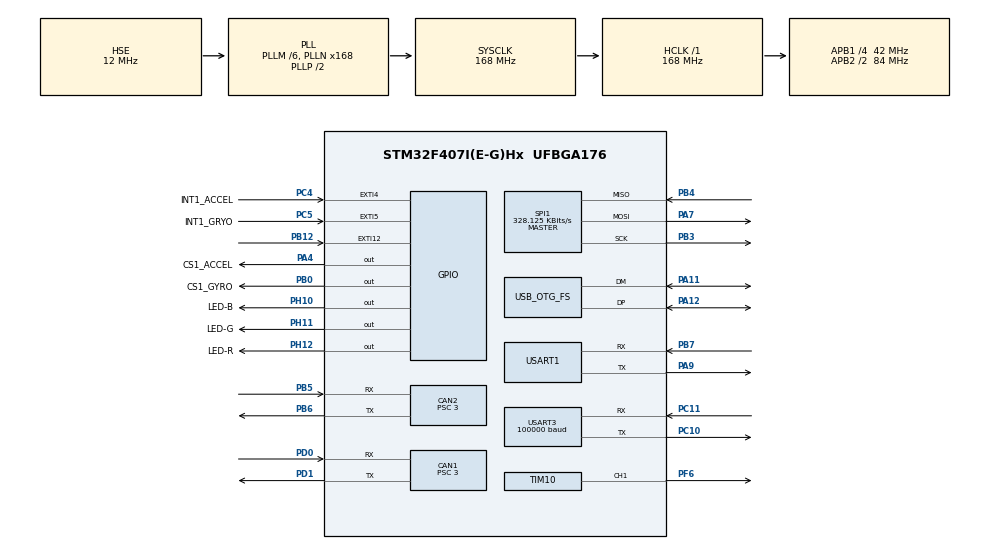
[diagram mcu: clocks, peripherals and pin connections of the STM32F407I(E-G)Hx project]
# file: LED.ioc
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CAN1.BS1=CAN_BS1_10TQ
CAN1.BS2=CAN_BS2_3TQ
CAN1.CalculateBaudRate=1000000
CAN1.CalculateTimeBit=1000
CAN1.CalculateTimeQuantum=71.42857142857143
CAN1.Prescaler=3
CAN2.BS1=CAN_BS1_10TQ
CAN2.BS2=CAN_BS2_3TQ
CAN2.CalculateBaudRate=1000000
CAN2.CalculateTimeBit=1000
CAN2.CalculateTimeQuantum=71.42857142857143
CAN2.NART=ENABLE
CAN2.Prescaler=3
Dma.Request0=USART3_RX
Dma.Request1=USART1_TX
Dma.Request2=SPI1_RX
Dma.Request3=SPI1_TX
Dma.SPI1_RX.2.Direction=DMA_PERIPH_TO_MEMORY
Dma.SPI1_RX.2.FIFOMode=DMA_FIFOMODE_DISABLE
Dma.SPI1_RX.2.Instance=DMA2_Stream2
Dma.SPI1_RX.2.MemDataAlignment=DMA_MDATAALIGN_BYTE
Dma.SPI1_RX.2.MemInc=DMA_MINC_ENABLE
Dma.SPI1_RX.2.Mode=DMA_NORMAL
Dma.SPI1_RX.2.PeriphDataAlignment=DMA_PDATAALIGN_BYTE
Dma.SPI1_RX.2.PeriphInc=DMA_PINC_DISABLE
Dma.SPI1_RX.2.Priority=DMA_PRIORITY_VERY_HIGH
Dma.SPI1_TX.3.Direction=DMA_MEMORY_TO_PERIPH
Dma.SPI1_TX.3.FIFOMode=DMA_FIFOMODE_DISABLE
Dma.SPI1_TX.3.Instance=DMA2_Stream3
Dma.SPI1_TX.3.MemDataAlignment=DMA_MDATAALIGN_BYTE
Dma.SPI1_TX.3.MemInc=DMA_MINC_ENABLE
Dma.SPI1_TX.3.Mode=DMA_NORMAL
Dma.SPI1_TX.3.PeriphDataAlignment=DMA_PDATAALIGN_BYTE
Dma.SPI1_TX.3.PeriphInc=DMA_PINC_DISABLE
Dma.SPI1_TX.3.Priority=DMA_PRIORITY_HIGH
Dma.USART1_TX.1.Direction=DMA_MEMORY_TO_PERIPH
Dma.USART1_TX.1.FIFOMode=DMA_FIFOMODE_DISABLE
Dma.USART1_TX.1.Instance=DMA2_Stream7
Dma.USART1_TX.1.MemDataAlignment=DMA_MDATAALIGN_BYTE
Dma.USART1_TX.1.MemInc=DMA_MINC_ENABLE
Dma.USART1_TX.1.Mode=DMA_NORMAL
Dma.USART1_TX.1.PeriphDataAlignment=DMA_PDATAALIGN_BYTE
Dma.USART1_TX.1.PeriphInc=DMA_PINC_DISABLE
Dma.USART1_TX.1.Priority=DMA_PRIORITY_LOW
Dma.USART3_RX.0.Direction=DMA_PERIPH_TO_MEMORY
Dma.USART3_RX.0.FIFOMode=DMA_FIFOMODE_DISABLE
Dma.USART3_RX.0.Instance=DMA1_Stream1
Dma.USART3_RX.0.MemDataAlignment=DMA_MDATAALIGN_BYTE
Dma.USART3_RX.0.MemInc=DMA_MINC_ENABLE
Dma.USART3_RX.0.Mode=DMA_CIRCULAR
Dma.USART3_RX.0.PeriphDataAlignment=DMA_PDATAALIGN_BYTE
Dma.USART3_RX.0.PeriphInc=DMA_PINC_DISABLE
Dma.USART3_RX.0.Priority=DMA_PRIORITY_HIGH
Mcu.Family=STM32F4
Mcu.Name=STM32F407I(E-G)Hx
Mcu.Package=UFBGA176
NVIC.CAN1_RX0_IRQn=true\:1\:0\:false\:false\:true\:true\:true\:true
NVIC.CAN2_RX0_IRQn=true\:1\:0\:false\:false\:true\:true\:true\:true
NVIC.DMA1_Stream1_IRQn=true\:2\:0\:false\:false\:true\:false\:true\:true
NVIC.DMA2_Stream2_IRQn=true\:3\:0\:false\:false\:true\:false\:true\:true
NVIC.DMA2_Stream3_IRQn=true\:3\:0\:false\:false\:true\:false\:true\:true
NVIC.DMA2_Stream7_IRQn=true\:3\:0\:false\:false\:true\:false\:true\:true
NVIC.EXTI15_10_IRQn=true\:3\:0\:false\:false\:true\:true\:true\:true
NVIC.OTG_FS_IRQn=true\:0\:0\:false\:false\:true\:false\:true\:true
NVIC.PriorityGroup=NVIC_PRIORITYGROUP_4
NVIC.USART1_IRQn=true\:2\:0\:false\:false\:true\:true\:true\:true
NVIC.USART3_IRQn=true\:1\:0\:false\:false\:true\:true\:true\:true
PA11.Mode=Device_Only
PA11.Signal=USB_OTG_FS_DM
PA12.Mode=Device_Only
PA12.Signal=USB_OTG_FS_DP
PA13.Mode=Serial_Wire
PA13.Signal=SYS_JTMS-SWDIO
PA14.Mode=Serial_Wire
PA14.Signal=SYS_JTCK-SWCLK
PA4.GPIO_Label=CS1_ACCEL
PA4.GPIO_PuPd=GPIO_PULLUP
PA4.GPIO_Speed=GPIO_SPEED_FREQ_HIGH
PA4.PinState=GPIO_PIN_SET
PA4.Signal=GPIO_Output
PA7.Mode=Full_Duplex_Master
PA7.Signal=SPI1_MOSI
PA9.Mode=Asynchronous
PA9.Signal=USART1_TX
PB0.GPIO_Label=CS1_GYRO
PB0.GPIO_PuPd=GPIO_PULLUP
PB0.GPIO_Speed=GPIO_SPEED_FREQ_HIGH
PB0.PinState=GPIO_PIN_SET
PB0.Signal=GPIO_Output
PB12.GPIO_ModeDefaultEXTI=GPIO_MODE_IT_RISING_FALLING
PB12.Signal=GPXTI12
PB3.Mode=Full_Duplex_Master
PB3.Signal=SPI1_SCK
PB4.Mode=Full_Duplex_Master
PB4.Signal=SPI1_MISO
PB5.Mode=CAN_Activate
PB5.Signal=CAN2_RX
PB6.Mode=CAN_Activate
PB6.Signal=CAN2_TX
PB7.Mode=Asynchronous
PB7.Signal=USART1_RX
PC10.Mode=Asynchronous
PC10.Signal=USART3_TX
PC11.Mode=Asynchronous
PC11.Signal=USART3_RX
PC14-OSC32_IN.Mode=LSE-External-Oscillator
PC14-OSC32_IN.Signal=RCC_OSC32_IN
PC15-OSC32_OUT.Mode=LSE-External-Oscillator
PC15-OSC32_OUT.Signal=RCC_OSC32_OUT
PC4.GPIO_Label=INT1_ACCEL
PC4.GPIO_PuPd=GPIO_PULLUP
PC4.Signal=GPXTI4
PC5.GPIO_Label=INT1_GRYO
PC5.GPIO_PuPd=GPIO_PULLUP
PC5.Signal=GPXTI5
PD0.Mode=CAN_Activate
PD0.Signal=CAN1_RX
PD1.Mode=CAN_Activate
PD1.Signal=CAN1_TX
PF6.GPIO_Speed=GPIO_SPEED_FREQ_HIGH
PF6.Signal=S_TIM10_CH1
PH0-OSC_IN.Mode=HSE-External-Oscillator
PH0-OSC_IN.Signal=RCC_OSC_IN
PH1-OSC_OUT.Mode=HSE-External-Oscillator
PH1-OSC_OUT.Signal=RCC_OSC_OUT
PH10.GPIO_Label=LED-B
PH10.PinState=GPIO_PIN_RESET
PH10.Signal=GPIO_Output
PH11.GPIO_Label=LED-G
PH11.PinState=GPIO_PIN_RESET
PH11.Signal=GPIO_Output
PH12.GPIO_Label=LED-R
PH12.PinState=GPIO_PIN_RESET
PH12.Signal=GPIO_Output
ProjectManager.HeapSize=0x200
ProjectManager.StackSize=0x400
ProjectManager.TargetToolchain=STM32CubeIDE
RCC.48MHZClocksFreq_Value=48000000
RCC.AHBFreq_Value=168000000
RCC.APB1CLKDivider=RCC_HCLK_DIV4
RCC.APB1Freq_Value=42000000
RCC.APB1TimFreq_Value=84000000
RCC.APB2CLKDivider=RCC_HCLK_DIV2
RCC.APB2Freq_Value=84000000
RCC.APB2TimFreq_Value=168000000
RCC.CortexFreq_Value=168000000
RCC.HCLKFreq_Value=168000000
RCC.HSE_VALUE=12000000
RCC.HSI_VALUE=16000000
RCC.PLLM=6
RCC.PLLN=168
RCC.PLLQ=7
RCC.SYSCLKFreq_VALUE=168000000
RCC.SYSCLKSource=RCC_SYSCLKSOURCE_PLLCLK
RCC.VCOOutputFreq_Value=336000000
SH.S_TIM10_CH1.0=TIM10_CH1,PWM Generation1 CH1
SPI1.BaudRatePrescaler=SPI_BAUDRATEPRESCALER_256
SPI1.CLKPhase=SPI_PHASE_2EDGE
SPI1.CLKPolarity=SPI_POLARITY_HIGH
SPI1.CalculateBaudRate=328.125 KBits/s
SPI1.Direction=SPI_DIRECTION_2LINES
SPI1.Mode=SPI_MODE_MASTER
SPI1.VirtualType=VM_MASTER
TIM10.Channel=TIM_CHANNEL_1
TIM10.Period=4999
USART1.VirtualMode=VM_ASYNC
USART3.BaudRate=100000
USART3.VirtualMode=VM_ASYNC
USB_DEVICE.CLASS_NAME_FS=CDC
USB_DEVICE.VirtualMode-CDC_FS=Cdc
USB_DEVICE.VirtualModeFS=Cdc_FS
USB_OTG_FS.VirtualMode=Device_Only
VP_TIM10_VS_ClockSourceINT.Mode=Enable_Timer
VP_USB_DEVICE_VS_USB_DEVICE_CDC_FS.Mode=CDC_FS
board=custom

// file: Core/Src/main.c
/* USER CODE BEGIN Header */
/**
  ******************************************************************************
  * @file           : main.c
  * @brief          : Main program body
  ******************************************************************************
  * @attention
  *
  * Copyright (c) 2025 STMicroelectronics.
  * All rights reserved.
  *
  * This software is licensed under terms that can be found in the LICENSE file
  * in the root directory of this software component.
  * If no LICENSE file comes with this software, it is provided AS-IS.
  *
  ******************************************************************************
  */
/* USER CODE END Header */
#include "main.h"
#include "can.h"
#include "dma.h"
#include "spi.h"
#include "tim.h"
#include "usart.h"
#include "usb_device.h"
#include "gpio.h"

/* USER CODE BEGIN Includes */
#include "usb_device.h"
#include "fault_recovery.h"
#include "../application/remote_control.h"
#include "../application/rc_forward.h"
#include "../application/led_indicator.h"
/* USER CODE END Includes */

/* USER CODE BEGIN PD */
//自定义私有类型定义 (typedef)

/* USER CODE END PD */

void SystemClock_Config(void);

int main(void)
{
  /* USER CODE BEGIN 1 */
  uint8_t fault_stable_marked = 0U;

  /* USER CODE END 1 */

  /* MCU Configuration--------------------------------------------------------*/

  /* Reset of all peripherals, Initializes the Flash interface and the Systick. */
  HAL_Init();

  /* Configure the system clock */
  SystemClock_Config();

  /* Initialize all configured peripherals */
  MX_GPIO_Init();
  MX_DMA_Init();
  MX_CAN1_Init();
  MX_USART1_UART_Init();
  MX_USART3_UART_Init();
  MX_CAN2_Init();
  MX_SPI1_Init();
  MX_TIM10_Init();
  MX_USB_DEVICE_Init();
  /* USER CODE BEGIN 2 */
    led_init();
    led_set_init();
    led_set_running();
    remote_control_init();
    rc_forward_init();

  /* USER CODE END 2 */

  /* Infinite loop */
  /* USER CODE BEGIN WHILE */
  while (1)
  {
      rc_forward_poll();
      USB_DEVICE_Process();
      led_update(HAL_GetTick());
      if ((fault_stable_marked == 0U) && (HAL_GetTick() >= 10000U)) {
          fault_recovery_mark_stable();
          fault_stable_marked = 1U;
      }

    /* USER CODE END WHILE */

  }
}

void SystemClock_Config(void)
{
  RCC_OscInitTypeDef RCC_OscInitStruct = {0};
  RCC_ClkInitTypeDef RCC_ClkInitStruct = {0};

  /** Configure the main internal regulator output voltage
  */
  __HAL_RCC_PWR_CLK_ENABLE();
  __HAL_PWR_VOLTAGESCALING_CONFIG(PWR_REGULATOR_VOLTAGE_SCALE1);

  /** Initializes the RCC Oscillators according to the specified parameters
  * in the RCC_OscInitTypeDef structure.
  */
  RCC_OscInitStruct.OscillatorType = RCC_OSCILLATORTYPE_HSE;
  RCC_OscInitStruct.HSEState = RCC_HSE_ON;
  RCC_OscInitStruct.PLL.PLLState = RCC_PLL_ON;
  RCC_OscInitStruct.PLL.PLLSource = RCC_PLLSOURCE_HSE;
  RCC_OscInitStruct.PLL.PLLM = 6;
  RCC_OscInitStruct.PLL.PLLN = 168;
  RCC_OscInitStruct.PLL.PLLP = RCC_PLLP_DIV2;
  RCC_OscInitStruct.PLL.PLLQ = 7;
  if (HAL_RCC_OscConfig(&RCC_OscInitStruct) != HAL_OK)
  {
    Error_Handler();
  }

  /** Initializes the CPU, AHB and APB buses clocks
  */
  RCC_ClkInitStruct.ClockType = RCC_CLOCKTYPE_HCLK|RCC_CLOCKTYPE_SYSCLK
                              |RCC_CLOCKTYPE_PCLK1|RCC_CLOCKTYPE_PCLK2;
  RCC_ClkInitStruct.SYSCLKSource = RCC_SYSCLKSOURCE_PLLCLK;
  RCC_ClkInitStruct.AHBCLKDivider = RCC_SYSCLK_DIV1;
  RCC_ClkInitStruct.APB1CLKDivider = RCC_HCLK_DIV4;
  RCC_ClkInitStruct.APB2CLKDivider = RCC_HCLK_DIV2;

  if (HAL_RCC_ClockConfig(&RCC_ClkInitStruct, FLASH_LATENCY_5) != HAL_OK)
  {
    Error_Handler();
  }
}

/* USER CODE BEGIN 4 */
/* PB12中断回调函数 */
void HAL_GPIO_EXTI_Callback(uint16_t GPIO_Pin)
{
    (void)GPIO_Pin;
}
/* USER CODE END 4 */

void Error_Handler(void)
{
  /* USER CODE BEGIN Error_Handler_Debug */
  if (CoreDebug->DHCSR & CoreDebug_DHCSR_C_DEBUGEN_Msk)
  {
    __BKPT(0);
  }
  fault_recovery_fatal(FAULT_REASON_ERROR_HANDLER);
  /* USER CODE END Error_Handler_Debug */
}
